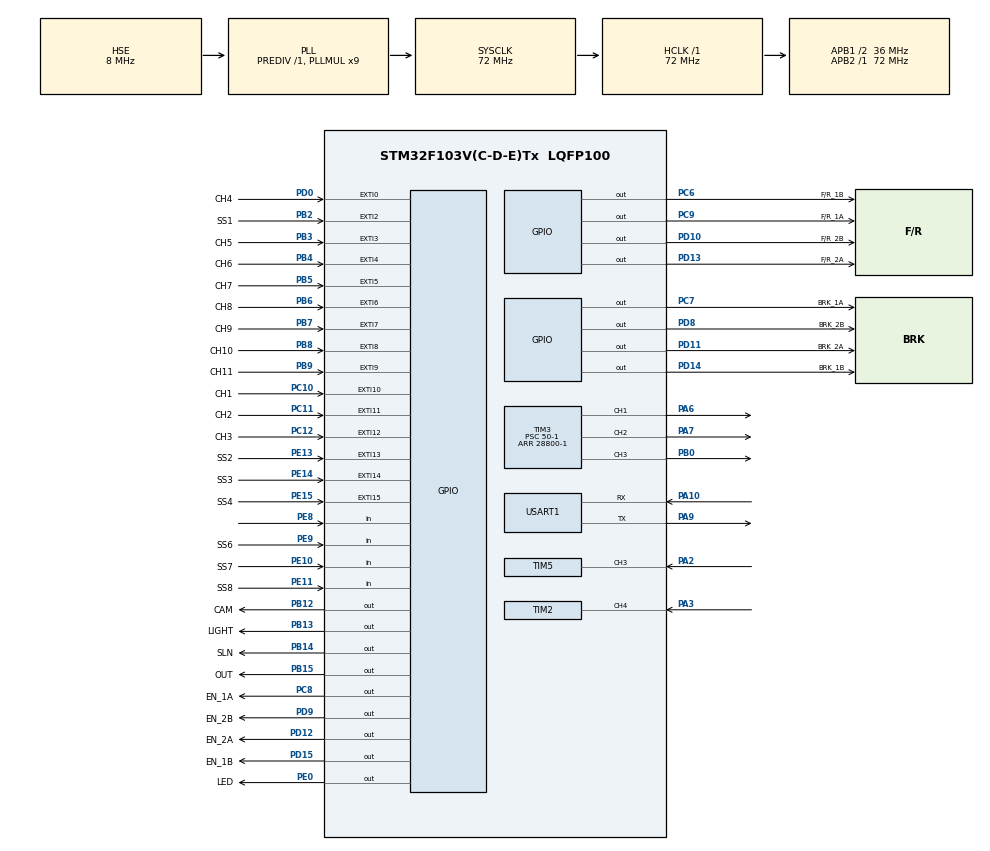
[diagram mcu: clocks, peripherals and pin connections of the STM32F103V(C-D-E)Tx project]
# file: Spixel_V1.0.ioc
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Mcu.Family=STM32F1
Mcu.Name=STM32F103V(C-D-E)Tx
Mcu.Package=LQFP100
NVIC.EXTI0_IRQn=true\:0\:0\:true\:false\:true\:true\:true\:true
NVIC.EXTI15_10_IRQn=true\:0\:0\:false\:false\:true\:true\:true\:true
NVIC.EXTI2_IRQn=true\:0\:0\:false\:false\:true\:true\:true\:true
NVIC.EXTI3_IRQn=true\:0\:0\:false\:false\:true\:true\:true\:true
NVIC.EXTI4_IRQn=true\:0\:0\:false\:false\:true\:true\:true\:true
NVIC.EXTI9_5_IRQn=true\:0\:0\:false\:false\:true\:true\:true\:true
NVIC.PriorityGroup=NVIC_PRIORITYGROUP_4
NVIC.TIM2_IRQn=true\:0\:0\:false\:false\:true\:true\:true\:true
NVIC.TIM5_IRQn=true\:0\:0\:false\:false\:true\:true\:true\:true
NVIC.TIM6_IRQn=true\:0\:0\:false\:false\:true\:true\:true\:true
OSC_IN.Mode=HSE-External-Oscillator
OSC_IN.Signal=RCC_OSC_IN
OSC_OUT.Mode=HSE-External-Oscillator
OSC_OUT.Signal=RCC_OSC_OUT
PA10.Mode=Asynchronous
PA10.Signal=USART1_RX
PA13.Mode=Serial_Wire
PA13.Signal=SYS_JTMS-SWDIO
PA14.Mode=Serial_Wire
PA14.Signal=SYS_JTCK-SWCLK
PA2.Signal=S_TIM5_CH3
PA3.Signal=S_TIM2_CH4
PA6.Signal=S_TIM3_CH1
PA7.Signal=S_TIM3_CH2
PA9.Mode=Asynchronous
PA9.Signal=USART1_TX
PB0.Signal=S_TIM3_CH3
PB12.GPIO_Label=CAM
PB12.Signal=GPIO_Output
PB13.GPIO_Label=LIGHT
PB13.Signal=GPIO_Output
PB14.GPIO_Label=SLN
PB14.Signal=GPIO_Output
PB15.GPIO_Label=OUT
PB15.Signal=GPIO_Output
PB2.GPIO_Label=SS1
PB2.GPIO_ModeDefaultEXTI=GPIO_MODE_IT_FALLING
PB2.Signal=GPXTI2
PB3.GPIO_Label=CH5
PB3.Signal=GPXTI3
PB4.GPIO_Label=CH6
PB4.Signal=GPXTI4
PB5.GPIO_Label=CH7
PB5.Signal=GPXTI5
PB6.GPIO_Label=CH8
PB6.Signal=GPXTI6
PB7.GPIO_Label=CH9
PB7.Signal=GPXTI7
PB8.GPIO_Label=CH10
PB8.Signal=GPXTI8
PB9.GPIO_Label=CH11
PB9.Signal=GPXTI9
PC10.GPIO_Label=CH1
PC10.Signal=GPXTI10
PC11.GPIO_Label=CH2
PC11.Signal=GPXTI11
PC12.GPIO_Label=CH3
PC12.Signal=GPXTI12
PC6.GPIO_Label=F/R_1B
PC6.Signal=GPIO_Output
PC7.GPIO_Label=BRK_1A
PC7.Signal=GPIO_Output
PC8.GPIO_Label=EN_1A
PC8.Signal=GPIO_Output
PC9.GPIO_Label=F/R_1A
PC9.GPIO_PuPd=GPIO_PULLDOWN
PC9.GPIO_Speed=GPIO_SPEED_FREQ_HIGH
PC9.Signal=GPIO_Output
PD0.GPIO_Label=CH4
PD0.Signal=GPXTI0
PD10.GPIO_Label=F/R_2B
PD10.Signal=GPIO_Output
PD11.GPIO_Label=BRK_2A
PD11.Signal=GPIO_Output
PD12.GPIO_Label=EN_2A
PD12.GPIO_PuPd=GPIO_PULLDOWN
PD12.GPIO_Speed=GPIO_SPEED_FREQ_HIGH
PD12.Signal=GPIO_Output
PD13.GPIO_Label=F/R_2A
PD13.Signal=GPIO_Output
PD14.GPIO_Label=BRK_1B
PD14.Signal=GPIO_Output
PD15.GPIO_Label=EN_1B
PD15.Signal=GPIO_Output
PD8.GPIO_Label=BRK_2B
PD8.Signal=GPIO_Output
PD9.GPIO_Label=EN_2B
PD9.GPIO_PuPd=GPIO_NOPULL
PD9.GPIO_Speed=GPIO_SPEED_FREQ_LOW
PD9.Signal=GPIO_Output
PE0.GPIO_Label=LED
PE0.Signal=GPIO_Output
PE10.GPIO_Label=SS7
PE10.Signal=GPIO_Input
PE11.GPIO_Label=SS8
PE11.Signal=GPIO_Input
PE13.GPIO_Label=SS2
PE13.GPIO_ModeDefaultEXTI=GPIO_MODE_IT_FALLING
PE13.GPIO_PuPd=GPIO_NOPULL
PE13.Signal=GPXTI13
PE14.GPIO_Label=SS3
PE14.GPIO_ModeDefaultEXTI=GPIO_MODE_IT_FALLING
PE14.GPIO_PuPd=GPIO_NOPULL
PE14.Signal=GPXTI14
PE15.GPIO_Label=SS4
PE15.GPIO_ModeDefaultEXTI=GPIO_MODE_IT_FALLING
PE15.GPIO_PuPd=GPIO_NOPULL
PE15.Signal=GPXTI15
PE8.Signal=GPIO_Input
PE9.GPIO_Label=SS6
PE9.Signal=GPIO_Input
ProjectManager.HeapSize=0x200
ProjectManager.StackSize=0x400
ProjectManager.TargetToolchain=STM32CubeIDE
RCC.AHBFreq_Value=72000000
RCC.APB1CLKDivider=RCC_HCLK_DIV2
RCC.APB1Freq_Value=36000000
RCC.APB1TimFreq_Value=72000000
RCC.APB2Freq_Value=72000000
RCC.APB2TimFreq_Value=72000000
RCC.HCLKFreq_Value=72000000
RCC.PLLMUL=RCC_PLL_MUL9
RCC.PLLSourceVirtual=RCC_PLLSOURCE_HSE
RCC.SYSCLKFreq_VALUE=72000000
RCC.SYSCLKSource=RCC_SYSCLKSOURCE_PLLCLK
RCC.USBFreq_Value=72000000
SH.S_TIM2_CH4.0=TIM2_CH4,Input_Capture4_from_TI4
SH.S_TIM3_CH1.0=TIM3_CH1,PWM Generation1 CH1
SH.S_TIM3_CH2.0=TIM3_CH2,PWM Generation2 CH2
SH.S_TIM3_CH3.0=TIM3_CH3,PWM Generation3 CH3
SH.S_TIM5_CH3.0=TIM5_CH3,Input_Capture3_from_TI3
TIM2.Channel-Input_Capture4_from_TI4=TIM_CHANNEL_4
TIM2.Prescaler=24-1
TIM3.Channel-PWM\ Generation1\ CH1=TIM_CHANNEL_1
TIM3.Channel-PWM\ Generation2\ CH2=TIM_CHANNEL_2
TIM3.Channel-PWM\ Generation3\ CH3=TIM_CHANNEL_3
TIM3.Period=28800-1
TIM3.Prescaler=50-1
TIM5.Channel-Input_Capture3_from_TI3=TIM_CHANNEL_3
TIM5.Prescaler=24-1
TIM6.Period=10000-1
TIM6.Prescaler=72-1
TIM6.TIM_MasterOutputTrigger=TIM_TRGO_UPDATE
USART1.VirtualMode=VM_ASYNC
VP_TIM1_VS_ClockSourceINT.Mode=Internal
VP_TIM2_VS_ClockSourceINT.Mode=Internal
VP_TIM3_VS_ClockSourceINT.Mode=Internal
VP_TIM5_VS_ClockSourceINT.Mode=Internal
VP_TIM6_VS_ClockSourceINT.Mode=Enable_Timer
board=custom

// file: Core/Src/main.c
/* USER CODE BEGIN Header */
/**
  ******************************************************************************
  * @file           : main.c
  * @brief          : Main program body
  ******************************************************************************
  * @attention
  *
  * Copyright (c) 2024 STMicroelectronics.
  * All rights reserved.
  *
  * This software is licensed under terms that can be found in the LICENSE file
  * in the root directory of this software component.
  * If no LICENSE file comes with this software, it is provided AS-IS.
  *
  ******************************************************************************
  */
/* USER CODE END Header */
#include "main.h"

/* USER CODE BEGIN Includes */
#include"read.h"
#include"math.h"
/* USER CODE END Includes */

/* USER CODE BEGIN PM */
//uint8_t flag_tim6 = 0;
int RPM1,RPM2;
int Is_First_Captured1 = 0,Is_First_Captured2 = 0;
uint32_t IC_Val1 = 0,IC_Val2 = 0,Difference1 = 0;
uint32_t IC_Val3 = 0,IC_Val4 = 0,Difference2 = 0;

/* Measure Frequency */
uint32_t frequency1 = 0,frequency2 = 0;

/* USER CODE END PM */

TIM_HandleTypeDef htim1;
TIM_HandleTypeDef htim2;
TIM_HandleTypeDef htim3;
TIM_HandleTypeDef htim5;
TIM_HandleTypeDef htim6;

UART_HandleTypeDef huart1;

void SystemClock_Config(void);
static void MX_GPIO_Init(void);
static void MX_TIM1_Init(void);
static void MX_TIM3_Init(void);
static void MX_USART1_UART_Init(void);
static void MX_TIM6_Init(void);
static void MX_TIM5_Init(void);
static void MX_TIM2_Init(void);

/* USER CODE BEGIN 0 */
//read pwm

void HAL_GPIO_EXTI_Callback(uint16_t GPIO_Pin)
{
	if(GPIO_Pin == CH1_Pin)
	{
		read_pwm(1);
	}
	else if(GPIO_Pin == CH2_Pin)
	{
		read_pwm(2);
	}
	else if(GPIO_Pin == CH3_Pin)
	{
		read_pwm(3);
	}
	else if(GPIO_Pin == CH4_Pin)
	{
		read_pwm(4);
	}
	else if(GPIO_Pin == CH5_Pin)
	{
		read_pwm(5);
	}
	else if(GPIO_Pin == CH6_Pin)
	{
		read_pwm(6);
	}
	else if(GPIO_Pin == CH7_Pin)
	{
		read_pwm(7);
	}
	else if(GPIO_Pin == CH8_Pin)
	{
		read_pwm(8);
	}
	else if(GPIO_Pin == CH9_Pin)
	{
		read_pwm(9);
	}
	else if(GPIO_Pin == CH10_Pin)
	{
		read_pwm(10);
	}
	else if(GPIO_Pin == CH11_Pin)
	{
		read_pwm(11);
	}
	else if(GPIO_Pin == SS1_Pin)
	{
		HAL_TIM_Base_Start_IT(&htim6);
	}
	else if(GPIO_Pin == SS2_Pin)
	{
		HAL_TIM_Base_Start_IT(&htim6);
	}
	else if(GPIO_Pin == SS3_Pin)
	{
		HAL_TIM_Base_Start_IT(&htim6);
	}
	else if(GPIO_Pin == SS4_Pin)
	{
		HAL_TIM_Base_Start_IT(&htim6);
	}
	else if((GPIO_Pin == SS1_Pin && GPIO_Pin == SS3_Pin)||
			(GPIO_Pin == SS2_Pin&&GPIO_Pin == SS4_Pin))
	{
		HAL_TIM_Base_Start_IT(&htim6);
	}
//	  convert();
}

//read Speed pin Driver  SPI

void HAL_TIM_IC_CaptureCallback(TIM_HandleTypeDef *htim)
{
	if (htim->Channel == HAL_TIM_ACTIVE_CHANNEL_3)
	{

		if (Is_First_Captured1==0) // if the first rising edge is not captured
		{
			IC_Val1 = HAL_TIM_ReadCapturedValue(htim, TIM_CHANNEL_3); // read the first value
			Is_First_Captured1 = 1;  // set the first captured as true
		}

		else   // If the first rising edge is captured, now we will capture the second edge
		{

			IC_Val2 = HAL_TIM_ReadCapturedValue(htim, TIM_CHANNEL_3);  // read second value

			if (IC_Val2 > IC_Val1)
			{
				Difference1 = IC_Val2-IC_Val1;
			}

			else if (IC_Val1 > IC_Val2)
			{
				Difference1 = (65535 - IC_Val1) + IC_Val2;
			}

			frequency1 = 5000000/Difference1;
			RPM1 = (frequency1/8)*60/3;
			__HAL_TIM_SET_COUNTER(htim, 0);  // reset the counter
			Is_First_Captured1 = 0; // set it back to false
		}
	}

	if (htim->Channel == HAL_TIM_ACTIVE_CHANNEL_4)
		{
			if (Is_First_Captured2==0) // if the first rising edge is not captured
			{
				IC_Val3 = HAL_TIM_ReadCapturedValue(htim, TIM_CHANNEL_4); // read the first value
				Is_First_Captured2 = 1;  // set the first captured as true
			}

			else   // If the first rising edge is captured, now we will capture the second edge
			{
				IC_Val4 = HAL_TIM_ReadCapturedValue(htim, TIM_CHANNEL_4);  // read second value

				if (IC_Val4 > IC_Val3)
				{
					Difference2 = IC_Val4-IC_Val3;
				}

				else if (IC_Val3 > IC_Val4)
				{
					Difference2 = (65535 - IC_Val3) + IC_Val4;
				}

				frequency2 = 5000000/Difference2;
				RPM2 = (frequency2/8)*60/3;
				__HAL_TIM_SET_COUNTER(htim, 0);  // reset the counter
				Is_First_Captured2 = 0; // set it back to false
			}
		}
}

/* USER CODE END 0 */

int main(void)
{

  /* MCU Configuration--------------------------------------------------------*/

  /* Reset of all peripherals, Initializes the Flash interface and the Systick. */
  HAL_Init();

  /* Configure the system clock */
  SystemClock_Config();

  /* Initialize all configured peripherals */
  MX_GPIO_Init();
  MX_TIM1_Init();
  MX_TIM3_Init();
  MX_USART1_UART_Init();
  MX_TIM6_Init();
  MX_TIM5_Init();
  MX_TIM2_Init();
  /* USER CODE BEGIN 2 */
  // TIM2 BROOM

  //TIM3 WHEEL
  HAL_TIM_PWM_Start(&htim3, TIM_CHANNEL_1);
  HAL_TIM_PWM_Start(&htim3, TIM_CHANNEL_2);
  HAL_TIM_PWM_Start(&htim3, TIM_CHANNEL_3);

  HAL_TIM_Base_Start(&htim1);
  // time delay sensor
  HAL_TIM_Base_Start_IT(&htim6);
  // read RPM
  HAL_TIM_IC_Start_IT(&htim5, TIM_CHANNEL_3);
  HAL_TIM_IC_Start_IT(&htim2, TIM_CHANNEL_4);

  /* USER CODE END 2 */

  /* Infinite loop */
  while (1)
  {

    /* USER CODE BEGIN 3 */
	  convert();
	  control();
	  if(flag_tim6 == 1){
	  Status_SS();
	  }

  }
  /* USER CODE END 3 */
}

void SystemClock_Config(void)
{
  RCC_OscInitTypeDef RCC_OscInitStruct = {0};
  RCC_ClkInitTypeDef RCC_ClkInitStruct = {0};

  /** Initializes the RCC Oscillators according to the specified parameters
  * in the RCC_OscInitTypeDef structure.
  */
  RCC_OscInitStruct.OscillatorType = RCC_OSCILLATORTYPE_HSE;
  RCC_OscInitStruct.HSEState = RCC_HSE_ON;
  RCC_OscInitStruct.HSEPredivValue = RCC_HSE_PREDIV_DIV1;
  RCC_OscInitStruct.HSIState = RCC_HSI_ON;
  RCC_OscInitStruct.PLL.PLLState = RCC_PLL_ON;
  RCC_OscInitStruct.PLL.PLLSource = RCC_PLLSOURCE_HSE;
  RCC_OscInitStruct.PLL.PLLMUL = RCC_PLL_MUL9;
  if (HAL_RCC_OscConfig(&RCC_OscInitStruct) != HAL_OK)
  {
    Error_Handler();
  }

  /** Initializes the CPU, AHB and APB buses clocks
  */
  RCC_ClkInitStruct.ClockType = RCC_CLOCKTYPE_HCLK|RCC_CLOCKTYPE_SYSCLK
                              |RCC_CLOCKTYPE_PCLK1|RCC_CLOCKTYPE_PCLK2;
  RCC_ClkInitStruct.SYSCLKSource = RCC_SYSCLKSOURCE_PLLCLK;
  RCC_ClkInitStruct.AHBCLKDivider = RCC_SYSCLK_DIV1;
  RCC_ClkInitStruct.APB1CLKDivider = RCC_HCLK_DIV2;
  RCC_ClkInitStruct.APB2CLKDivider = RCC_HCLK_DIV1;

  if (HAL_RCC_ClockConfig(&RCC_ClkInitStruct, FLASH_LATENCY_2) != HAL_OK)
  {
    Error_Handler();
  }
}

static void MX_TIM1_Init(void)
{

  TIM_ClockConfigTypeDef sClockSourceConfig = {0};
  TIM_MasterConfigTypeDef sMasterConfig = {0};

  htim1.Instance = TIM1;
  htim1.Init.Prescaler = 0;
  htim1.Init.CounterMode = TIM_COUNTERMODE_UP;
  htim1.Init.Period = 65535;
  htim1.Init.ClockDivision = TIM_CLOCKDIVISION_DIV1;
  htim1.Init.RepetitionCounter = 0;
  htim1.Init.AutoReloadPreload = TIM_AUTORELOAD_PRELOAD_DISABLE;
  if (HAL_TIM_Base_Init(&htim1) != HAL_OK)
  {
    Error_Handler();
  }
  sClockSourceConfig.ClockSource = TIM_CLOCKSOURCE_INTERNAL;
  if (HAL_TIM_ConfigClockSource(&htim1, &sClockSourceConfig) != HAL_OK)
  {
    Error_Handler();
  }
  sMasterConfig.MasterOutputTrigger = TIM_TRGO_RESET;
  sMasterConfig.MasterSlaveMode = TIM_MASTERSLAVEMODE_DISABLE;
  if (HAL_TIMEx_MasterConfigSynchronization(&htim1, &sMasterConfig) != HAL_OK)
  {
    Error_Handler();
  }

}

static void MX_TIM2_Init(void)
{

  TIM_ClockConfigTypeDef sClockSourceConfig = {0};
  TIM_MasterConfigTypeDef sMasterConfig = {0};
  TIM_IC_InitTypeDef sConfigIC = {0};

  htim2.Instance = TIM2;
  htim2.Init.Prescaler = 24-1;
  htim2.Init.CounterMode = TIM_COUNTERMODE_UP;
  htim2.Init.Period = 65535;
  htim2.Init.ClockDivision = TIM_CLOCKDIVISION_DIV1;
  htim2.Init.AutoReloadPreload = TIM_AUTORELOAD_PRELOAD_DISABLE;
  if (HAL_TIM_Base_Init(&htim2) != HAL_OK)
  {
    Error_Handler();
  }
  sClockSourceConfig.ClockSource = TIM_CLOCKSOURCE_INTERNAL;
  if (HAL_TIM_ConfigClockSource(&htim2, &sClockSourceConfig) != HAL_OK)
  {
    Error_Handler();
  }
  if (HAL_TIM_IC_Init(&htim2) != HAL_OK)
  {
    Error_Handler();
  }
  sMasterConfig.MasterOutputTrigger = TIM_TRGO_RESET;
  sMasterConfig.MasterSlaveMode = TIM_MASTERSLAVEMODE_DISABLE;
  if (HAL_TIMEx_MasterConfigSynchronization(&htim2, &sMasterConfig) != HAL_OK)
  {
    Error_Handler();
  }
  sConfigIC.ICPolarity = TIM_INPUTCHANNELPOLARITY_RISING;
  sConfigIC.ICSelection = TIM_ICSELECTION_DIRECTTI;
  sConfigIC.ICPrescaler = TIM_ICPSC_DIV1;
  sConfigIC.ICFilter = 0;
  if (HAL_TIM_IC_ConfigChannel(&htim2, &sConfigIC, TIM_CHANNEL_4) != HAL_OK)
  {
    Error_Handler();
  }

}

static void MX_TIM3_Init(void)
{

  TIM_ClockConfigTypeDef sClockSourceConfig = {0};
  TIM_MasterConfigTypeDef sMasterConfig = {0};
  TIM_OC_InitTypeDef sConfigOC = {0};

  htim3.Instance = TIM3;
  htim3.Init.Prescaler = 50-1;
  htim3.Init.CounterMode = TIM_COUNTERMODE_UP;
  htim3.Init.Period = 28800-1;
  htim3.Init.ClockDivision = TIM_CLOCKDIVISION_DIV1;
  htim3.Init.AutoReloadPreload = TIM_AUTORELOAD_PRELOAD_DISABLE;
  if (HAL_TIM_Base_Init(&htim3) != HAL_OK)
  {
    Error_Handler();
  }
  sClockSourceConfig.ClockSource = TIM_CLOCKSOURCE_INTERNAL;
  if (HAL_TIM_ConfigClockSource(&htim3, &sClockSourceConfig) != HAL_OK)
  {
    Error_Handler();
  }
  if (HAL_TIM_PWM_Init(&htim3) != HAL_OK)
  {
    Error_Handler();
  }
  sMasterConfig.MasterOutputTrigger = TIM_TRGO_RESET;
  sMasterConfig.MasterSlaveMode = TIM_MASTERSLAVEMODE_DISABLE;
  if (HAL_TIMEx_MasterConfigSynchronization(&htim3, &sMasterConfig) != HAL_OK)
  {
    Error_Handler();
  }
  sConfigOC.OCMode = TIM_OCMODE_PWM1;
  sConfigOC.Pulse = 0;
  sConfigOC.OCPolarity = TIM_OCPOLARITY_HIGH;
  sConfigOC.OCFastMode = TIM_OCFAST_DISABLE;
  if (HAL_TIM_PWM_ConfigChannel(&htim3, &sConfigOC, TIM_CHANNEL_1) != HAL_OK)
  {
    Error_Handler();
  }
  if (HAL_TIM_PWM_ConfigChannel(&htim3, &sConfigOC, TIM_CHANNEL_2) != HAL_OK)
  {
    Error_Handler();
  }
  if (HAL_TIM_PWM_ConfigChannel(&htim3, &sConfigOC, TIM_CHANNEL_3) != HAL_OK)
  {
    Error_Handler();
  }
  HAL_TIM_MspPostInit(&htim3);

}

static void MX_TIM5_Init(void)
{

  TIM_ClockConfigTypeDef sClockSourceConfig = {0};
  TIM_MasterConfigTypeDef sMasterConfig = {0};
  TIM_IC_InitTypeDef sConfigIC = {0};

  htim5.Instance = TIM5;
  htim5.Init.Prescaler = 24-1;
  htim5.Init.CounterMode = TIM_COUNTERMODE_UP;
  htim5.Init.Period = 65535;
  htim5.Init.ClockDivision = TIM_CLOCKDIVISION_DIV1;
  htim5.Init.AutoReloadPreload = TIM_AUTORELOAD_PRELOAD_DISABLE;
  if (HAL_TIM_Base_Init(&htim5) != HAL_OK)
  {
    Error_Handler();
  }
  sClockSourceConfig.ClockSource = TIM_CLOCKSOURCE_INTERNAL;
  if (HAL_TIM_ConfigClockSource(&htim5, &sClockSourceConfig) != HAL_OK)
  {
    Error_Handler();
  }
  if (HAL_TIM_IC_Init(&htim5) != HAL_OK)
  {
    Error_Handler();
  }
  sMasterConfig.MasterOutputTrigger = TIM_TRGO_RESET;
  sMasterConfig.MasterSlaveMode = TIM_MASTERSLAVEMODE_DISABLE;
  if (HAL_TIMEx_MasterConfigSynchronization(&htim5, &sMasterConfig) != HAL_OK)
  {
    Error_Handler();
  }
  sConfigIC.ICPolarity = TIM_INPUTCHANNELPOLARITY_RISING;
  sConfigIC.ICSelection = TIM_ICSELECTION_DIRECTTI;
  sConfigIC.ICPrescaler = TIM_ICPSC_DIV1;
  sConfigIC.ICFilter = 0;
  if (HAL_TIM_IC_ConfigChannel(&htim5, &sConfigIC, TIM_CHANNEL_3) != HAL_OK)
  {
    Error_Handler();
  }

}

static void MX_TIM6_Init(void)
{

  TIM_MasterConfigTypeDef sMasterConfig = {0};

  htim6.Instance = TIM6;
  htim6.Init.Prescaler = 7200-1;
  htim6.Init.CounterMode = TIM_COUNTERMODE_UP;
  htim6.Init.Period = 7800-1;
  htim6.Init.AutoReloadPreload = TIM_AUTORELOAD_PRELOAD_DISABLE;
  if (HAL_TIM_Base_Init(&htim6) != HAL_OK)
  {
    Error_Handler();
  }
  sMasterConfig.MasterOutputTrigger = TIM_TRGO_UPDATE;
  sMasterConfig.MasterSlaveMode = TIM_MASTERSLAVEMODE_DISABLE;
  if (HAL_TIMEx_MasterConfigSynchronization(&htim6, &sMasterConfig) != HAL_OK)
  {
    Error_Handler();
  }

}

static void MX_USART1_UART_Init(void)
{

  huart1.Instance = USART1;
  huart1.Init.BaudRate = 115200;
  huart1.Init.WordLength = UART_WORDLENGTH_8B;
  huart1.Init.StopBits = UART_STOPBITS_1;
  huart1.Init.Parity = UART_PARITY_NONE;
  huart1.Init.Mode = UART_MODE_TX_RX;
  huart1.Init.HwFlowCtl = UART_HWCONTROL_NONE;
  huart1.Init.OverSampling = UART_OVERSAMPLING_16;
  if (HAL_UART_Init(&huart1) != HAL_OK)
  {
    Error_Handler();
  }

}

static void MX_GPIO_Init(void)
{
  GPIO_InitTypeDef GPIO_InitStruct = {0};

  /* GPIO Ports Clock Enable */
  __HAL_RCC_GPIOA_CLK_ENABLE();
  __HAL_RCC_GPIOB_CLK_ENABLE();
  __HAL_RCC_GPIOE_CLK_ENABLE();
  __HAL_RCC_GPIOD_CLK_ENABLE();
  __HAL_RCC_GPIOC_CLK_ENABLE();

  /*Configure GPIO pin Output Level */
  HAL_GPIO_WritePin(GPIOB, CAM_Pin|LIGHT_Pin|SLN_Pin|OUT_Pin, GPIO_PIN_RESET);

  /*Configure GPIO pin Output Level */
  HAL_GPIO_WritePin(GPIOD, BRK_2B_Pin|EN_2B_Pin|F_R_2B_Pin|BRK_2A_Pin
                          |EN_2A_Pin|F_R_2A_Pin|BRK_1B_Pin|EN_1B_Pin, GPIO_PIN_RESET);

  /*Configure GPIO pin Output Level */
  HAL_GPIO_WritePin(GPIOC, F_R_1B_Pin|BRK_1A_Pin|EN_1A_Pin|F_R_1A_Pin, GPIO_PIN_RESET);

  /*Configure GPIO pin Output Level */
  HAL_GPIO_WritePin(LED_GPIO_Port, LED_Pin, GPIO_PIN_RESET);

  /*Configure GPIO pin : SS1_Pin */
  GPIO_InitStruct.Pin = SS1_Pin;
  GPIO_InitStruct.Mode = GPIO_MODE_IT_FALLING;
  GPIO_InitStruct.Pull = GPIO_NOPULL;
  HAL_GPIO_Init(SS1_GPIO_Port, &GPIO_InitStruct);

  /*Configure GPIO pins : PE8 SS6_Pin SS7_Pin SS8_Pin */
  GPIO_InitStruct.Pin = GPIO_PIN_8|SS6_Pin|SS7_Pin|SS8_Pin;
  GPIO_InitStruct.Mode = GPIO_MODE_INPUT;
  GPIO_InitStruct.Pull = GPIO_NOPULL;
  HAL_GPIO_Init(GPIOE, &GPIO_InitStruct);

  /*Configure GPIO pins : SS2_Pin SS3_Pin SS4_Pin */
  GPIO_InitStruct.Pin = SS2_Pin|SS3_Pin|SS4_Pin;
  GPIO_InitStruct.Mode = GPIO_MODE_IT_FALLING;
  GPIO_InitStruct.Pull = GPIO_NOPULL;
  HAL_GPIO_Init(GPIOE, &GPIO_InitStruct);

  /*Configure GPIO pins : CAM_Pin LIGHT_Pin SLN_Pin OUT_Pin */
  GPIO_InitStruct.Pin = CAM_Pin|LIGHT_Pin|SLN_Pin|OUT_Pin;
  GPIO_InitStruct.Mode = GPIO_MODE_OUTPUT_PP;
  GPIO_InitStruct.Pull = GPIO_NOPULL;
  GPIO_InitStruct.Speed = GPIO_SPEED_FREQ_LOW;
  HAL_GPIO_Init(GPIOB, &GPIO_InitStruct);

  /*Configure GPIO pins : BRK_2B_Pin EN_2B_Pin F_R_2B_Pin BRK_2A_Pin
                           F_R_2A_Pin BRK_1B_Pin EN_1B_Pin */
  GPIO_InitStruct.Pin = BRK_2B_Pin|EN_2B_Pin|F_R_2B_Pin|BRK_2A_Pin
                          |F_R_2A_Pin|BRK_1B_Pin|EN_1B_Pin;
  GPIO_InitStruct.Mode = GPIO_MODE_OUTPUT_PP;
  GPIO_InitStruct.Pull = GPIO_NOPULL;
  GPIO_InitStruct.Speed = GPIO_SPEED_FREQ_LOW;
  HAL_GPIO_Init(GPIOD, &GPIO_InitStruct);

  /*Configure GPIO pin : EN_2A_Pin */
  GPIO_InitStruct.Pin = EN_2A_Pin;
  GPIO_InitStruct.Mode = GPIO_MODE_OUTPUT_PP;
  GPIO_InitStruct.Pull = GPIO_PULLDOWN;
  GPIO_InitStruct.Speed = GPIO_SPEED_FREQ_HIGH;
  HAL_GPIO_Init(EN_2A_GPIO_Port, &GPIO_InitStruct);

  /*Configure GPIO pins : F_R_1B_Pin BRK_1A_Pin EN_1A_Pin */
  GPIO_InitStruct.Pin = F_R_1B_Pin|BRK_1A_Pin|EN_1A_Pin;
  GPIO_InitStruct.Mode = GPIO_MODE_OUTPUT_PP;
  GPIO_InitStruct.Pull = GPIO_NOPULL;
  GPIO_InitStruct.Speed = GPIO_SPEED_FREQ_LOW;
  HAL_GPIO_Init(GPIOC, &GPIO_InitStruct);

  /*Configure GPIO pin : F_R_1A_Pin */
  GPIO_InitStruct.Pin = F_R_1A_Pin;
  GPIO_InitStruct.Mode = GPIO_MODE_OUTPUT_PP;
  GPIO_InitStruct.Pull = GPIO_PULLDOWN;
  GPIO_InitStruct.Speed = GPIO_SPEED_FREQ_HIGH;
  HAL_GPIO_Init(F_R_1A_GPIO_Port, &GPIO_InitStruct);

  /*Configure GPIO pins : CH1_Pin CH2_Pin CH3_Pin */
  GPIO_InitStruct.Pin = CH1_Pin|CH2_Pin|CH3_Pin;
  GPIO_InitStruct.Mode = GPIO_MODE_IT_RISING;
  GPIO_InitStruct.Pull = GPIO_NOPULL;
  HAL_GPIO_Init(GPIOC, &GPIO_InitStruct);

  /*Configure GPIO pin : CH4_Pin */
  GPIO_InitStruct.Pin = CH4_Pin;
  GPIO_InitStruct.Mode = GPIO_MODE_IT_RISING;
  GPIO_InitStruct.Pull = GPIO_NOPULL;
  HAL_GPIO_Init(CH4_GPIO_Port, &GPIO_InitStruct);

  /*Configure GPIO pins : CH5_Pin CH6_Pin CH7_Pin CH8_Pin
                           CH9_Pin CH10_Pin CH11_Pin */
  GPIO_InitStruct.Pin = CH5_Pin|CH6_Pin|CH7_Pin|CH8_Pin
                          |CH9_Pin|CH10_Pin|CH11_Pin;
  GPIO_InitStruct.Mode = GPIO_MODE_IT_RISING;
  GPIO_InitStruct.Pull = GPIO_NOPULL;
  HAL_GPIO_Init(GPIOB, &GPIO_InitStruct);

  /*Configure GPIO pin : LED_Pin */
  GPIO_InitStruct.Pin = LED_Pin;
  GPIO_InitStruct.Mode = GPIO_MODE_OUTPUT_PP;
  GPIO_InitStruct.Pull = GPIO_NOPULL;
  GPIO_InitStruct.Speed = GPIO_SPEED_FREQ_LOW;
  HAL_GPIO_Init(LED_GPIO_Port, &GPIO_InitStruct);

  /* EXTI interrupt init*/
  HAL_NVIC_SetPriority(EXTI0_IRQn, 0, 0);
  HAL_NVIC_EnableIRQ(EXTI0_IRQn);

  HAL_NVIC_SetPriority(EXTI2_IRQn, 0, 0);
  HAL_NVIC_EnableIRQ(EXTI2_IRQn);

  HAL_NVIC_SetPriority(EXTI3_IRQn, 0, 0);
  HAL_NVIC_EnableIRQ(EXTI3_IRQn);

  HAL_NVIC_SetPriority(EXTI4_IRQn, 0, 0);
  HAL_NVIC_EnableIRQ(EXTI4_IRQn);

  HAL_NVIC_SetPriority(EXTI9_5_IRQn, 0, 0);
  HAL_NVIC_EnableIRQ(EXTI9_5_IRQn);

  HAL_NVIC_SetPriority(EXTI15_10_IRQn, 0, 0);
  HAL_NVIC_EnableIRQ(EXTI15_10_IRQn);

}

/* USER CODE BEGIN 4 */
void HAL_TIM_PeriodElapsedCallback(TIM_HandleTypeDef *htim)
{
    if (htim->Instance == TIM6) {
        flag_tim6 = 1; // C�? báo hiệu TIM6 ngắt

    }
}
/* USER CODE END 4 */

void Error_Handler(void)
{
  __disable_irq();
  while (1)
  {
  }
}
